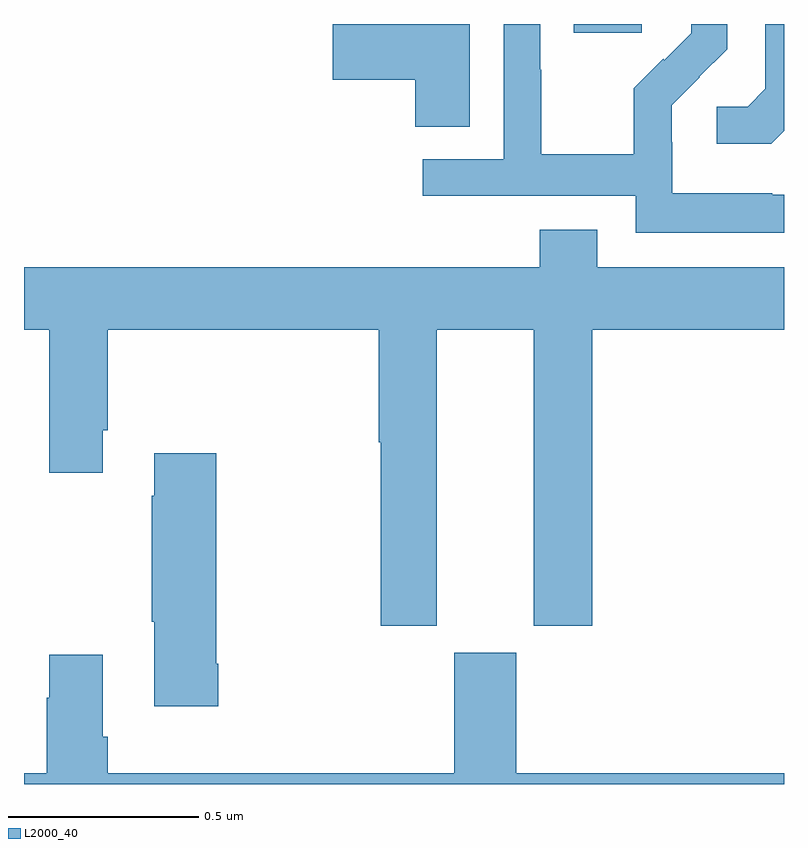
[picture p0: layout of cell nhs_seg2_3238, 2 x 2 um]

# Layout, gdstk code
import gdstk
lib = gdstk.Library(unit=1e-6, precision=1e-09)
def R(c, l, rs):  # rectangles x0, y0, x1, y1
    for r in rs: c.add(gdstk.rectangle(r[:2], r[2:], *l))
def P(c, l, *ps):  # polygons
    for p in ps: c.add(gdstk.Polygon(p, *l))
L2000_40 = (2000, 40)

nhs_seg2_3238 = lib.new_cell('nhs_seg2_3238')
R(nhs_seg2_3238, L2000_40, [(152.447,621.777,152.626,621.8)])
P(nhs_seg2_3238, L2000_40, [(152.173,621.8),(151.812,621.8),(151.812,621.653),(152.03,621.653),(152.03,621.529),(152.173,621.529)],
  [(153,621.351),(152.969,621.351),(152.969,621.355),(152.706,621.355),(152.706,621.489),(152.704,621.489),(152.704,621.586),(152.778,621.66),(152.777,621.661),(152.85,621.734),(152.85,621.8),(152.756,621.8),(152.756,621.776),(152.685,621.705),(152.682,621.708),(152.605,621.631),(152.605,621.457),(152.361,621.457),(152.361,621.68),(152.358,621.68),(152.358,621.8),(152.262,621.8),(152.262,621.444),(152.049,621.444),(152.049,621.348),(152.61,621.348),(152.61,621.251),(153,621.251)],
  [(153,621.519),(153,621.8),(152.951,621.8),(152.951,621.629),(152.904,621.582),(152.823,621.582),(152.823,621.485),(152.966,621.485)],
  [(152.086,620.996),(152.342,620.996),(152.342,620.217),(152.495,620.217),(152.495,620.996),(153,620.996),(153,621.16),(152.509,621.16),(152.509,621.259),(152.357,621.259),(152.357,621.16),(151,621.16),(151,620.996),(151.067,620.996),(151.067,620.619),(151.207,620.619),(151.207,620.731),(151.22,620.731),(151.22,620.996),(151.934,620.996),(151.934,620.7),(151.939,620.7),(151.939,620.217),(152.086,620.217)],
  [(151.511,620.116),(151.506,620.116),(151.506,620.671),(151.343,620.671),(151.343,620.558),(151.336,620.558),(151.336,620.227),(151.343,620.227),(151.343,620.004),(151.511,620.004)],
  [(153,619.828),(152.296,619.828),(152.296,620.145),(152.132,620.145),(152.132,619.828),(151.22,619.828),(151.22,619.924),(151.207,619.924),(151.207,620.14),(151.067,620.14),(151.067,620.027),(151.06,620.027),(151.06,619.828),(151,619.828),(151,619.8),(153,619.8)])

lib.write_gds('nhs_seg2_3238.gds')
